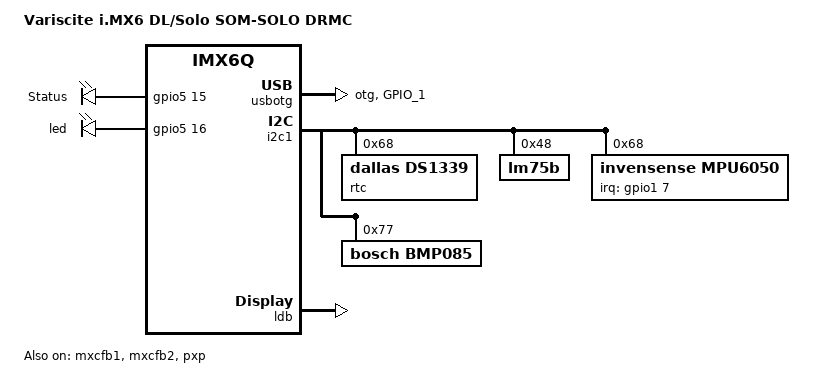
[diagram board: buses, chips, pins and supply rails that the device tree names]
/*
 * Copyright (C) 2014-2016 Variscite, Ltd. All Rights Reserved
 * Donio Ron: ron.d@variscite.com
 *
 * Copyright (C) 2013 Freescale Semiconductor, Inc.
 *
 * This program is free software; you can redistribute it and/or modify
 * it under the terms of the GNU General Public License version 2 as
 * published by the Free Software Foundation.
 */

/dts-v1/;

#include "imx6dl.dtsi"
#include "imx6qdl-var-som.dtsi"

/ {
	model = "Variscite i.MX6 DL/Solo SOM-SOLO DRMC";
	compatible = "fsl,imx6q-var-som", "fsl,imx6q";

	backlight {
		brightness-levels = <0 1 2 3 4 5 6 7 8 9 10 11 12 13 14 15 16 17 18 19 20 21 22 23 24 25 26 27 28 29 30 31 32 33 34 35 36 37 38 39 40 41 42 43 44 45 46 47 48 49 50 51 52 53 54 55 56 57 58 59 60 61 62 63 64 65 66 67 68 69 70 71 72 73 74 75 76 77 78 79 80 81 82 83 84 85 86 87 88 89 90 91 92 93 94 95 96 97 98 99 100 101 102 103 104 105 106 107 108 109 110 111 112 113 114 115 116 117 118 119 120 121 122 123 124 125 126 127 128 129 130 131 132 133 134 135 136 137 138 139 140 141 142 143 144 145 146 147 148 149 150 151 152 153 154 155 156 157 158 159 160 161 162 163 164 165 166 167 168 169 170 171 172 173 174 175 176 177 178 179 180 181 182 183 184 185 186 187 188 189 190 191 192 193 194 195 196 197 198 199 200 201 202 203 204 205 206 207 208 209 210 211 212 213 214 215 216 217 218 219 220 221 222 223 224 225 226 227 228 229 230 231 232 233 234 235 236 237 238 239 240 241 242 243 244 245 246 247 248 249 250 251 251 252 253 254 255 >;
		default-brightness-level = <0>;
	};
	gpio-leds {
		compatible = "gpio-leds";
		pinctrl-names = "default";
		system-status {
			label = "Status";
			gpios = <&gpio5 15 0>;
			linux,default-trigger = "heartbeat";
			default-state = "off";
		};
		cpu-led {
			label = "led";
			gpios = <&gpio5 16 0>;
			linux,default-trigger = "cpu0";
			default-state = "off";
		};
	};
};

&iomuxc {
	imx6qdl-var-som-mx6 {
		pinctrl_usbotg_1: usbotggrp-1 {
			fsl,pins = <
				MX6QDL_PAD_GPIO_1__USB_OTG_ID		0x17059
			>;
		};

		pinctrl_ft5406_pins: ft5406_pins {
			fsl,pins = <
				MX6QDL_PAD_DISP0_DAT23__GPIO5_IO17	0x1B0B0
			>;
		};
	};
};

&reg_usb_otg_vbus {
	gpio = <&gpio3 22 0>;
	enable-active-high;
};

&reg_usb_h1_vbus {
	gpio = <&gpio4 15 0>;
	enable-active-high;
};

&usbotg {
	pinctrl-0 = <&pinctrl_usbotg_1>;
	dr_mode = "otg"; /* Use "host" if you would like to use the USB0 type A connector */
};

&cpu0 {
	arm-supply = <&reg_arm>;
	soc-supply = <&reg_soc>;
};

&gpc {
	/* use ldo-enable, u-boot will check it and configure */
	fsl,ldo-bypass = <0>;
};

&usdhc2 {	/* uSDHC2, MMC/SD card */
	wp-gpios = <>;
};

&i2c1 {

	ov564x_mipi: ov564x_mipi@3c {
		status = "disabled";
	};

	/* DS1339 RTC module */
        rtc@0x68 {
		compatible = "dallas,ds1339";
                reg = <0x68>;
		status = "okay";
        };
	lm75b@48 {
		compatible = "lm75b";
		reg = <0x48>;
		status = "okay";	
	};
	eeprom@50 {
		compatible = "24c256";
		reg = <0x50>;
		pagesize = <16>;
		status = "disabled";
	};
	mpu6050@68 {
		compatible = "invensense,mpu6050";
		reg = <0x68>;
		interrupt-parent = <&gpio1>;
		interrupts = <7 2>;
		invensense,int_config = <0x10>;
		invensense,level_shifter = <0>;
		invensense,orientation = [01 00 00 00 01 00 00 00 01];
		invensense,sec_slave_type = <0>;
		invensense,key = [4e cc 7e eb f6 1e 35 22 00 34 0d 65 32 e9 94 89];
		status = "okay";	
	};
	bmp085@77 {
		compatible = "bosch,bmp085";
		reg = <0x77>;
		chip-id = <10>;
		temp-measurement-period = <100>;
		default-oversampling = <2>;
		status = "okay";
	};
};

&i2c3 {
        /* DS1307 RTC module */
        rtc@0x68 {
		status = "disabled";
        };
};

&mxcfb1 {
	interface_pix_fmt = "RGB24";
	status = "okay";
};

&mxcfb2 {
	status = "okay";
};

&pxp {
	status = "okay";
};

&ldb {
	status = "okay";
	split-mode;
	lvds-channel@0 {
		fsl,data-mapping = "jeida";
		fsl,data-width = <24>;
		crtc = "ipu1-di0";
		primary;
		status = "okay";

	display-timings {
			native-mode = <&timingr0>;
			timingr0: hsd100pxn1 {
				clock-frequency = <148500000>;
				hactive = <1920>;
				vactive = <1080>;
				hback-porch = <0 44 60>;
				hfront-porch = <80 88 160>;
				vback-porch = <100 148 160>;
				vfront-porch = <0 4 6>;
				hsync-len = <0 36 50>;
				vsync-len = <0 5 6>;
			};
		};
	};

	lvds-channel@1 {
		fsl,data-mapping = "jeida";
		fsl,data-width = <24>;
		crtc = "ipu1-di1";
		status = "okay";

		display-timings {
			native-mode = <&timing1>;
			timing1: hsd100pxn1 {
				clock-frequency = <148500000>;
				hactive = <1920>;
				vactive = <1080>;
				hback-porch = <0 44 60>;
				hfront-porch = <80 88 160>;
				vback-porch = <100 148 160>;
				vfront-porch = <0 4 6>;
				hsync-len = <0 36 50>;
				vsync-len = <0 5 6>;
			};
		};
	};
};


&can1 {
	status = "disabled";
};
